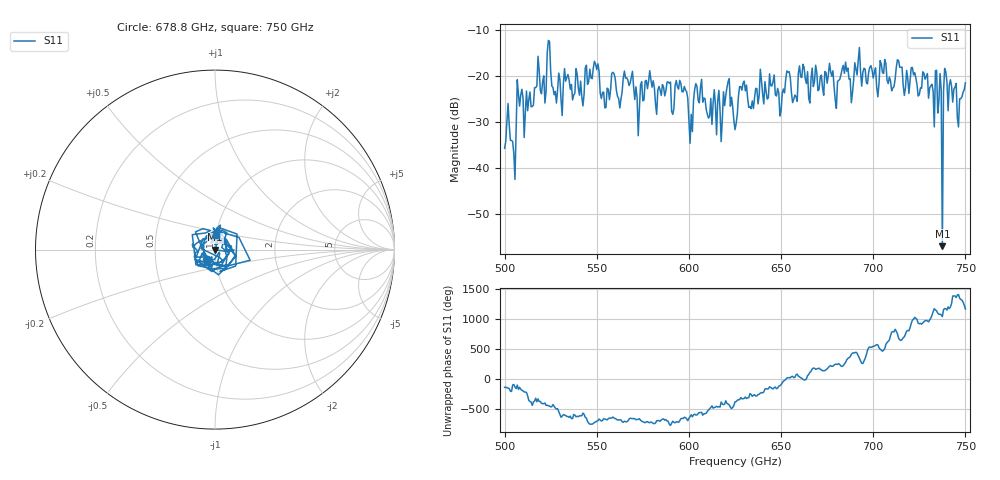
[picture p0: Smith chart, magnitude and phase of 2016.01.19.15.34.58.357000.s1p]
!Created with skrf (http://scikit-rf.org).
# GHz S RI R 50.0
!freq ReS11 ImS11
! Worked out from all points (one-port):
!   401 points, 500 GHz to 750 GHz, reference 50 ohm
!   lowest |S11| = -57.1 dB at 737.5 GHz (marker M1), VSWR 1.00, Z = 50.1 - j0.0912 ohm
!   |S11| at or under -10 dB: start of sweep to end of sweep
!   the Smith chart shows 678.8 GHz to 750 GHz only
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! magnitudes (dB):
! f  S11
! 500 GHz  -35.8
! 505 GHz  -36.9
! 508.1 GHz  -26.6
! 511.9 GHz  -23.3
! 524.4 GHz  -12.5
! 526.9 GHz  -24.1
! 531.2 GHz  -28.6
! 549.4 GHz  -17.4
! 553.8 GHz  -23.5
! 558.8 GHz  -19.2
! 562.5 GHz  -27.0
! 593.8 GHz  -22.3
! 600.6 GHz  -34.7
! 605.6 GHz  -25.9
! 616.2 GHz  -23.1
! 621.9 GHz  -20.6
! 625 GHz  -31.7
! 628.8 GHz  -23.1
! 656.2 GHz  -25.8
! 661.2 GHz  -20.3
! 687.5 GHz  -20.6
! 718.8 GHz  -20.7
! 735 GHz  -28.1
! 736.2 GHz  -19.5
! 737.5 GHz  -57.1
! 739.4 GHz  -19.1
! 746.9 GHz  -25.0
! 750 GHz  -21.5
